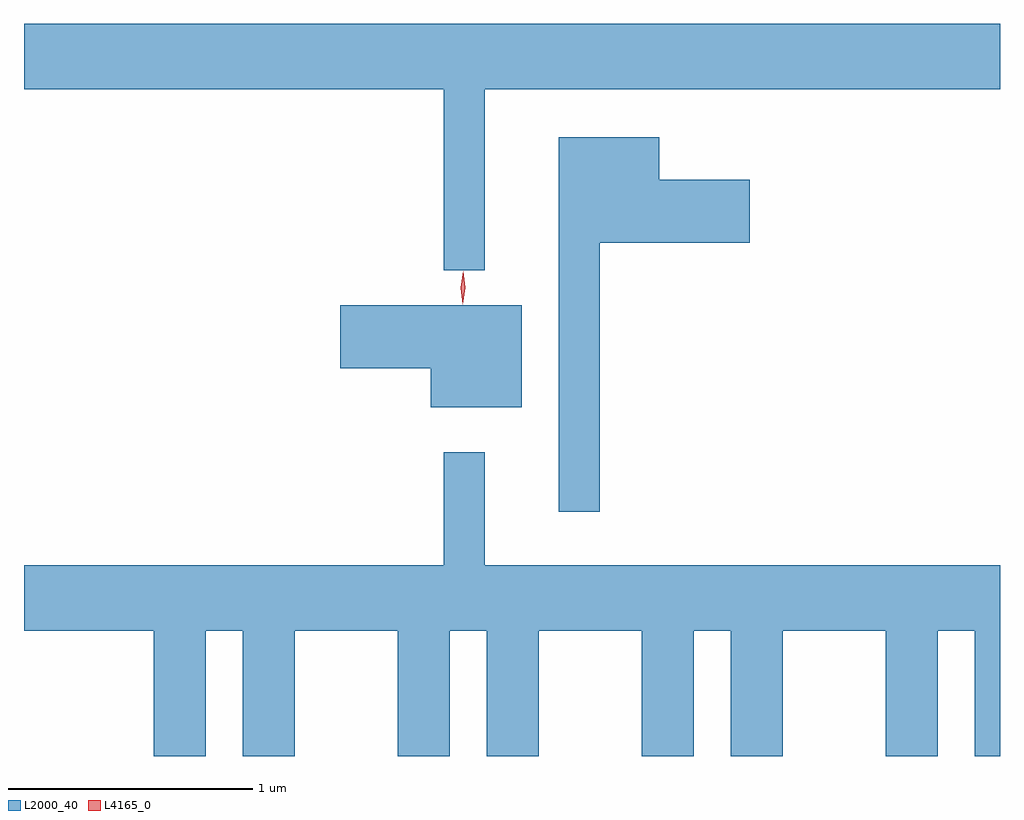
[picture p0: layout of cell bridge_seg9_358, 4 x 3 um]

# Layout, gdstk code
import gdstk
lib = gdstk.Library(unit=1e-6, precision=1e-09)
def P(c, l, *ps):  # polygons
    for p in ps: c.add(gdstk.Polygon(p, *l))
L2000_40 = (2000, 40)
L4165_0 = (4165, 0)

bridge_seg9_358 = lib.new_cell('bridge_seg9_358')
P(bridge_seg9_358, L2000_40, [(986.229,2011.796),(988.34,2011.796),(988.34,2012.064),(984.34,2012.064),(984.34,2011.796),(986.061,2011.796),(986.061,2011.053),(986.229,2011.053)],
  [(986.699,2011.166),(987.314,2011.166),(987.314,2011.424),(986.944,2011.424),(986.944,2011.599),(986.531,2011.599),(986.531,2010.063),(986.699,2010.063)],
  [(986.379,2010.909),(985.636,2010.909),(985.636,2010.651),(986.006,2010.651),(986.006,2010.491),(986.379,2010.491)],
  [(985.084,2009.576),(985.236,2009.576),(985.236,2009.061),(985.449,2009.061),(985.449,2009.576),(985.871,2009.576),(985.871,2009.061),(986.084,2009.061),(986.084,2009.576),(986.236,2009.576),(986.236,2009.061),(986.449,2009.061),(986.449,2009.576),(986.871,2009.576),(986.871,2009.061),(987.084,2009.061),(987.084,2009.576),(987.236,2009.576),(987.236,2009.061),(987.449,2009.061),(987.449,2009.576),(987.871,2009.576),(987.871,2009.061),(988.084,2009.061),(988.084,2009.576),(988.236,2009.576),(988.236,2009.061),(988.34,2009.061),(988.34,2009.844),(986.229,2009.844),(986.229,2010.308),(986.061,2010.308),(986.061,2009.844),(984.34,2009.844),(984.34,2009.576),(984.871,2009.576),(984.871,2009.061),(985.084,2009.061)])
P(bridge_seg9_358, L4165_0, [(986.138,2010.92),(986.138,2010.921),(986.129,2010.984),(986.14,2011.046),(986.14,2011.047),(986.141,2011.046),(986.149,2010.983),(986.139,2010.921)],
  [(986.138,2010.914),(986.138,2010.914),(986.129,2010.982),(986.14,2011.05),(986.14,2011.05),(986.141,2011.05),(986.149,2010.982),(986.139,2010.914)])

lib.write_gds('bridge_seg9_358.gds')
